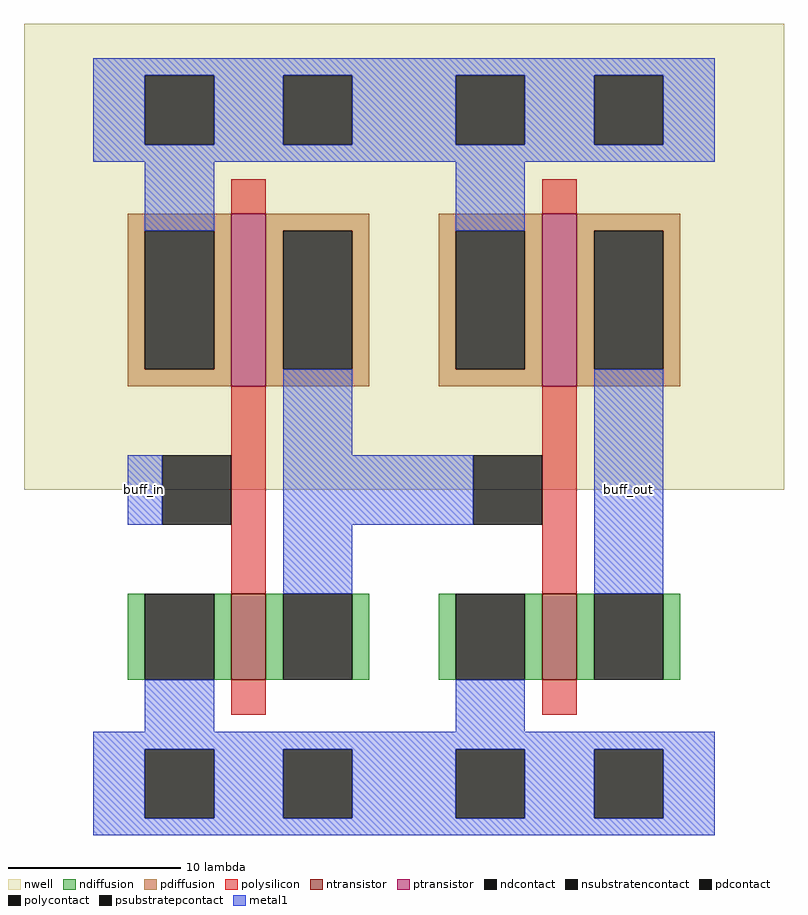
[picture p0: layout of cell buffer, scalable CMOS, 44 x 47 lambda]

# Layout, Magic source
magic
tech scmos
<< metal1 >>
rect 5 0 16 4
use inverter  inverter_1
transform 1 0 -34 0 1 25
box 42 -43 68 4
use inverter  inverter_0
transform 1 0 -52 0 1 25
box 42 -43 68 4
<< labels >>
rlabel space -3 2 -3 2 1 buff_in
rlabel space 25 2 25 2 1 buff_out
<< end >>

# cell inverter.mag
magic
tech scmos
<< nwell >>
rect 42 -23 68 4
<< ntransistor >>
rect 54 -34 56 -29
<< ptransistor >>
rect 54 -17 56 -7
<< ndiffusion >>
rect 48 -34 49 -29
rect 53 -34 54 -29
rect 56 -34 57 -29
rect 61 -34 62 -29
<< pdiffusion >>
rect 48 -8 54 -7
rect 48 -16 49 -8
rect 53 -16 54 -8
rect 48 -17 54 -16
rect 56 -8 62 -7
rect 56 -16 57 -8
rect 61 -16 62 -8
rect 56 -17 62 -16
<< ndcontact >>
rect 49 -34 53 -29
rect 57 -34 61 -29
<< pdcontact >>
rect 49 -16 53 -8
rect 57 -16 61 -8
<< psubstratepcontact >>
rect 49 -42 53 -38
rect 57 -42 61 -38
<< nsubstratencontact >>
rect 49 -3 53 1
rect 57 -3 61 1
<< polysilicon >>
rect 54 -7 56 -5
rect 54 -29 56 -17
rect 54 -36 56 -34
<< polycontact >>
rect 50 -25 54 -21
<< metal1 >>
rect 46 1 64 2
rect 46 -3 49 1
rect 53 -3 57 1
rect 61 -3 64 1
rect 46 -4 64 -3
rect 49 -8 53 -4
rect 48 -25 50 -21
rect 57 -29 61 -16
rect 49 -37 53 -34
rect 46 -38 64 -37
rect 46 -42 49 -38
rect 53 -42 57 -38
rect 61 -42 64 -38
rect 46 -43 64 -42
<< labels >>
rlabel metal1 55 -1 55 -1 1 vdd!
rlabel metal1 55 -40 55 -40 1 gnd!
rlabel metal1 49 -23 49 -23 1 in
rlabel metal1 59 -23 59 -23 1 out
<< end >>
